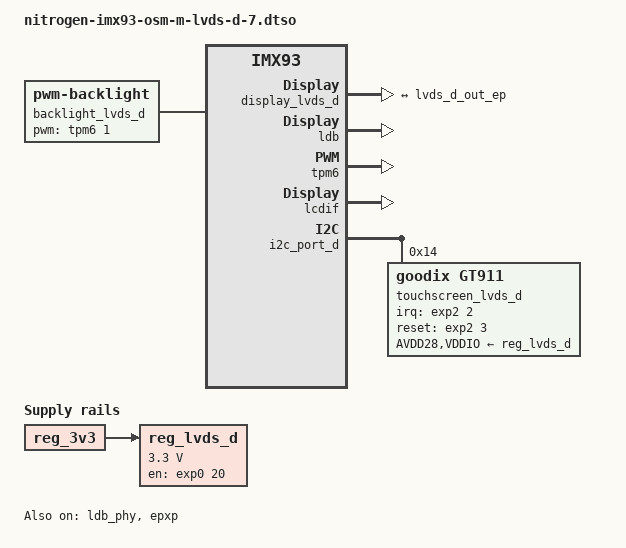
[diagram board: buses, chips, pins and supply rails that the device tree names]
// SPDX-License-Identifier: (GPL-2.0-or-later OR MIT)
/*
 * LVDS-D display expansion board with BD070LIC3 display for Nitrogen i.MX93 OSM-M
 *
 * Copyright 2026 Ezurio LLC
 */

/dts-v1/;
/plugin/;

#include <dt-bindings/gpio/gpio.h>
#include <dt-bindings/interrupt-controller/irq.h>

#include "nitrogen-imx93-bd-panel.dtsi"

&{/} {
	backlight_lvds_d: backlight-lvds-d {
		brightness-levels = <0 1 2 3 4 5 6 7 8 9 10>;
		compatible = "pwm-backlight";
		default-brightness-level = <8>;

		pwms = <&tpm6 1 30000 0>; /* 33.3 kHz */
	};

	reg_lvds_d: regulator-lvds-d {
		compatible = "regulator-fixed";
		regulator-name = "reg_lvds_d";
		regulator-min-microvolt = <3300000>;
		regulator-max-microvolt = <3300000>;

		vin-supply = <&reg_3v3>;
		gpio = <&exp0 20 GPIO_ACTIVE_HIGH>; /* GPIO_B_6 / LVDS_D_VDD_EN */
		enable-active-high;
		startup-delay-us = <10000>;
	};

	display_lvds_d: panel-lvds-d {
		compatible = "panel-lvds";
		data-mapping = "vesa-24";

		power-supply = <&reg_lvds_d>;
		backlight = <&backlight_lvds_d>;

		width-mm = <150>;
		height-mm = <94>;

		panel-timing {
			BD_PANEL_TIMING
		};

		port {
			display_in_ep_lvds_d: endpoint {
				remote-endpoint = <&lvds_d_out_ep>;
			};
		};
	};

	display-subsystem {
		status = "okay";
	};
};

&ldb {
	status = "okay";

	#address-cells = <1>;
	#size-cells = <0>;

	lvds-channel@0 {
		status = "okay";

		#address-cells = <1>;
		#size-cells = <0>;

		port@1 {
			reg = <1>;

			lvds_d_out_ep: endpoint {
				remote-endpoint = <&display_in_ep_lvds_d>;
			};
		};
	};
};

&ldb_phy {
	status = "okay";
};

&tpm6 {
	status = "okay";
};

&epxp {
	status = "okay";
};

&lcdif {
	assigned-clock-rates = <504000000>, <72000000>, <400000000>, <133333333>;
	status = "okay";
};

&i2c_port_d {
	#address-cells = <1>;
	#size-cells = <0>;

	touchscreen_lvds_d: touchscreen-lvds-d@14 {
		compatible = "goodix,gt911";
		reg = <0x14>;

		AVDD28-supply = <&reg_lvds_d>;
		VDDIO-supply = <&reg_lvds_d>;

		interrupts-extended = <&exp2 2 IRQ_TYPE_EDGE_FALLING>;
		interrupt-names = "irq";
		irq-gpios = <&exp2 2 (GPIO_ACTIVE_HIGH | GPIO_PULL_UP)>;
		reset-gpios = <&exp2 3 GPIO_ACTIVE_HIGH>;

		touchscreen-min-x = <0>;
		touchscreen-min-y = <0>;
		touchscreen-size-x = <1280>;
		touchscreen-size-y = <800>;
	};
};
